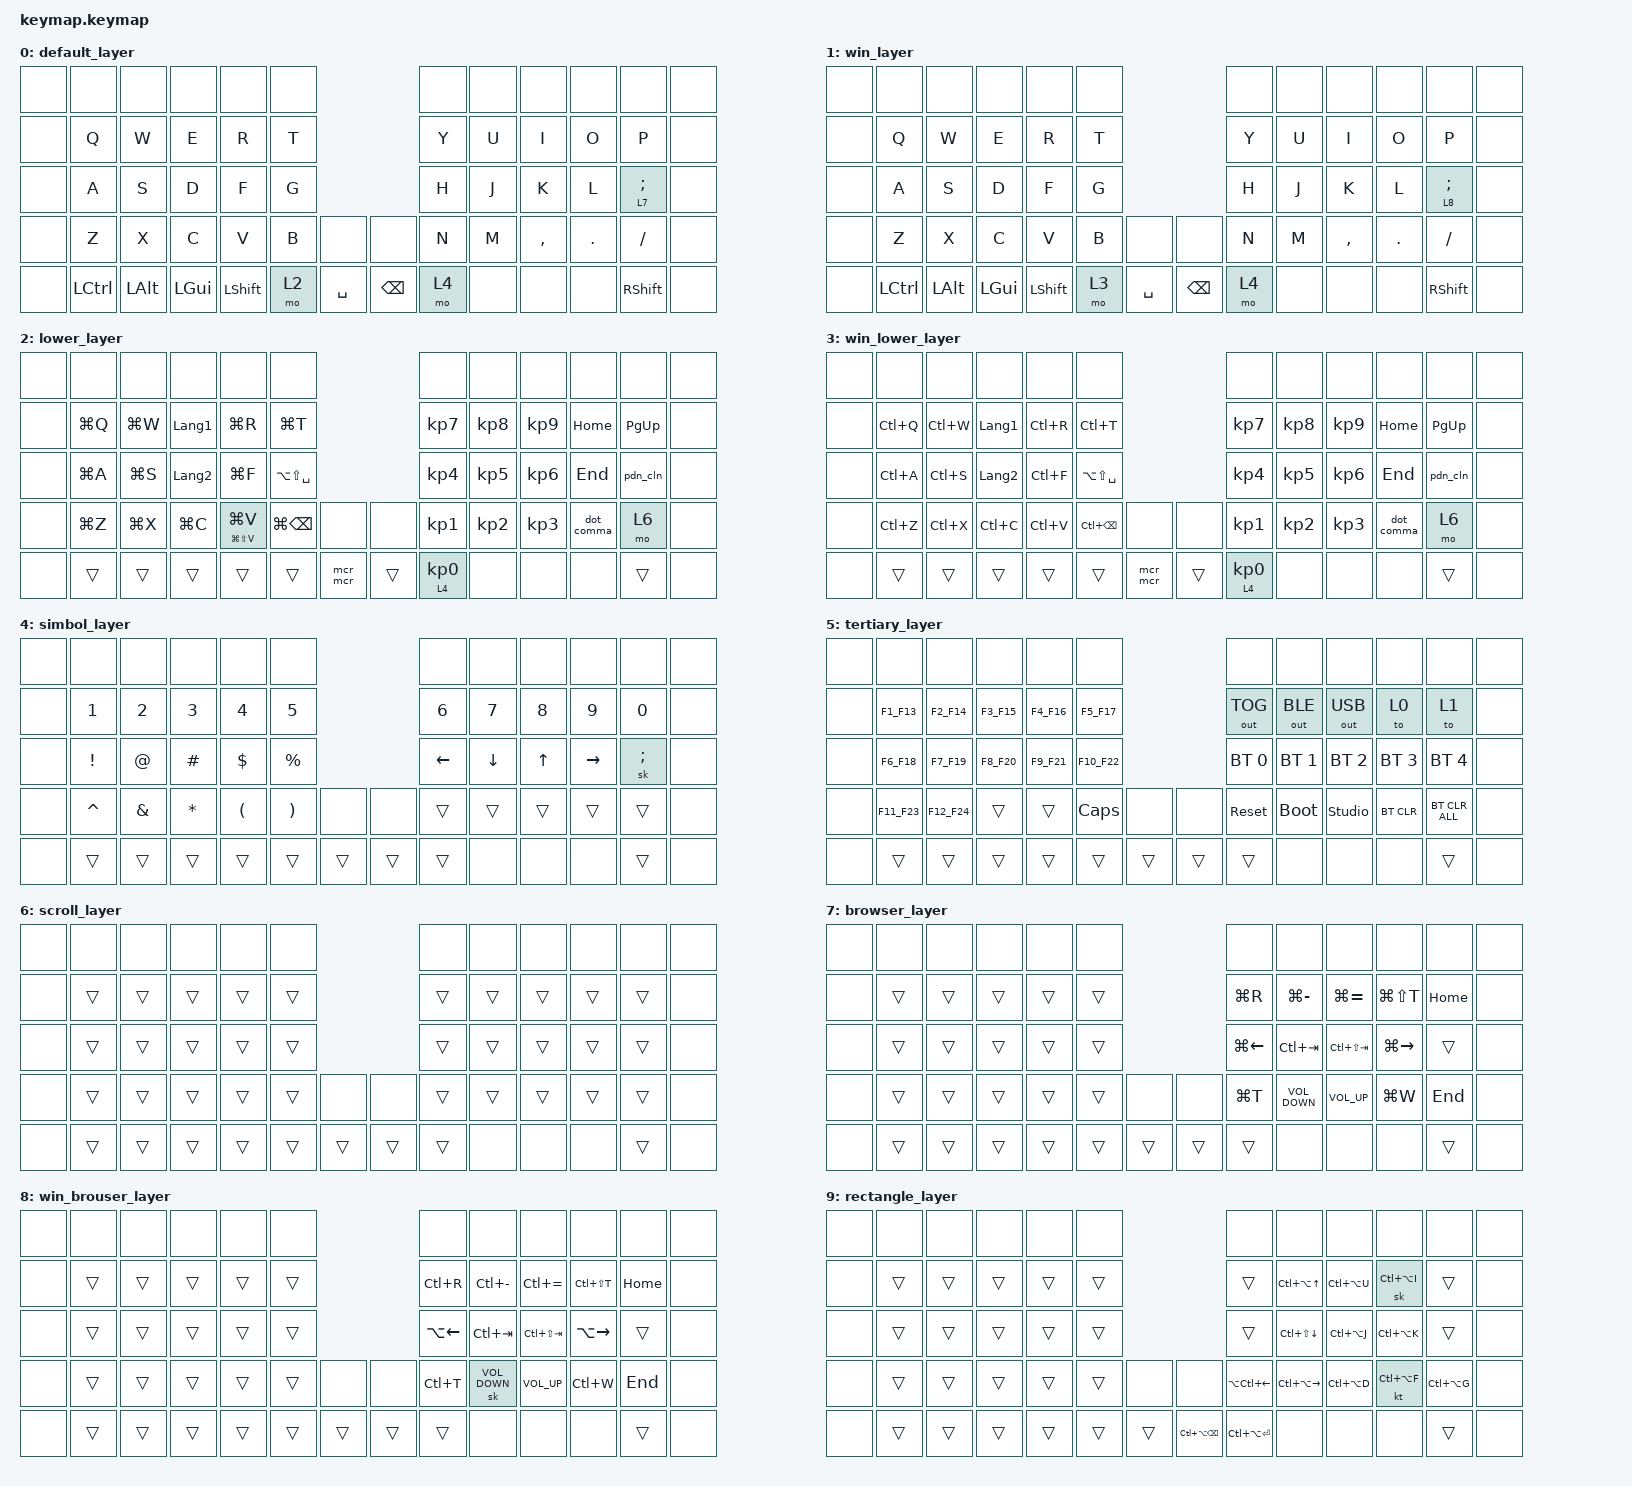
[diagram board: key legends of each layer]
#include <behaviors.dtsi>
#include <dt-bindings/zmk/bt.h>
#include <dt-bindings/zmk/keys.h>
#include <dt-bindings/zmk/outputs.h>
#include <dt-bindings/zmk/pointing.h>

/ {
    behaviors {
        mt2: mod_tap2 {
            compatible = "zmk,behavior-hold-tap";
            #binding-cells = <2>;
            flavor = "tap-preferred";
            tapping-term-ms = <200>;
            quick-tap-ms = <200>;
            require-prior-idle-ms = <125>;
            bindings = <&kp>, <&kp>;
        };

        F1_F13: F1_F13 {
            compatible = "zmk,behavior-mod-morph";
            #binding-cells = <0>;
            bindings = <&kp F1>, <&kp F13>;

            mods = <(MOD_LSFT|MOD_RSFT)>;
            label = "F1_F13";
        };

        F2_F14: F2_F14 {
            compatible = "zmk,behavior-mod-morph";
            #binding-cells = <0>;
            bindings = <&kp F2>, <&kp F14>;

            mods = <(MOD_LSFT|MOD_RSFT)>;
            label = "F2_F14";
        };

        F3_F15: F3_F15 {
            compatible = "zmk,behavior-mod-morph";
            #binding-cells = <0>;
            bindings = <&kp F3>, <&kp F15>;

            mods = <(MOD_LSFT|MOD_RSFT)>;
            label = "F3_F15";
        };

        F4_F16: F4_F16 {
            compatible = "zmk,behavior-mod-morph";
            #binding-cells = <0>;
            bindings = <&kp F4>, <&kp F16>;

            mods = <(MOD_LSFT|MOD_RSFT)>;
            label = "F4_F16";
        };

        F5_F17: F5_F17 {
            compatible = "zmk,behavior-mod-morph";
            #binding-cells = <0>;
            bindings = <&kp F5>, <&kp F17>;

            mods = <(MOD_LSFT|MOD_RSFT)>;
            label = "F5_F17";
        };

        F6_F18: F6_F18 {
            compatible = "zmk,behavior-mod-morph";
            #binding-cells = <0>;
            bindings = <&kp F6>, <&kp F18>;

            mods = <(MOD_LSFT|MOD_RSFT)>;
            label = "F6_F18";
        };

        F7_F19: F7_F19 {
            compatible = "zmk,behavior-mod-morph";
            #binding-cells = <0>;
            bindings = <&kp F7>, <&kp F19>;

            mods = <(MOD_LSFT|MOD_RSFT)>;
            label = "F7_F19";
        };

        F8_F20: F8_F20 {
            compatible = "zmk,behavior-mod-morph";
            #binding-cells = <0>;
            bindings = <&kp F8>, <&kp F20>;

            mods = <(MOD_LSFT|MOD_RSFT)>;
            label = "F8_F20";
        };

        F9_F21: F9_F21 {
            compatible = "zmk,behavior-mod-morph";
            #binding-cells = <0>;
            bindings = <&kp F9>, <&kp F21>;

            mods = <(MOD_LSFT|MOD_RSFT)>;
            label = "F9_F21";
        };

        F10_F22: F10_F22 {
            compatible = "zmk,behavior-mod-morph";
            #binding-cells = <0>;
            bindings = <&kp F10>, <&kp F22>;

            mods = <(MOD_LSFT|MOD_RSFT)>;
            label = "F10_F22";
        };

        F11_F23: F11_F23 {
            compatible = "zmk,behavior-mod-morph";
            #binding-cells = <0>;
            bindings = <&kp F11>, <&kp F23>;

            mods = <(MOD_LSFT|MOD_RSFT)>;
            label = "F11_F23";
        };

        F12_F24: F12_F24 {
            compatible = "zmk,behavior-mod-morph";
            #binding-cells = <0>;
            bindings = <&kp F12>, <&kp F24>;

            mods = <(MOD_LSFT|MOD_RSFT)>;
            label = "F12_F24";
        };

        pdn_cln: pdn_cln {
            compatible = "zmk,behavior-mod-morph";
            label = "PDN_CLN";
            bindings = <&kp PAGE_DOWN>, <&kp COLON>;

            #binding-cells = <0>;
            mods = <(MOD_LSFT|MOD_RSFT)>;
        };

        dot_comma: dot_comma {
            compatible = "zmk,behavior-mod-morph";
            label = "DOT_COMMA";
            bindings = <&kp KP_DOT>, <&kp COMMA>;

            #binding-cells = <0>;
            mods = <(MOD_LSFT|MOD_RSFT)>;
        };
    };

    combos {
        compatible = "zmk,combos";

        esc_ss {
            bindings = <&mt2 LS(LG(NUMBER_4)) ESCAPE>;
            key-positions = <13 14>;
            layers = <0>;
        };

        LClick {
            bindings = <&mkp LCLK>;
            key-positions = <31 32>;
            layers = <0 1 2 3>;
        };

        RClick {
            bindings = <&mkp RCLK>;
            key-positions = <32 33>;
            layers = <0 1 2 3>;
        };

        MClick {
            bindings = <&mkp MCLK>;
            key-positions = <30 31 32>;
            layers = <0 1 2 3>;
        };

        Scroll {
            bindings = <&mo 6>;
            key-positions = <31 32 33>;
            layers = <0 1>;
        };

        ctrl_space {
            bindings = <&kp LC(SPACE)>;
            key-positions = <30 31>;
            layers = <0>;
        };

        alt_grave {
            bindings = <&kp LA(GRAVE)>;
            key-positions = <30 31>;
            layers = <1>;
        };

        equal {
            bindings = <&kp EQUAL>;
            key-positions = <18 19>;
            layers = <0 1>;
        };

        minus {
            bindings = <&kp MINUS>;
            key-positions = <19 20>;
            layers = <0 1>;
        };

        backslash {
            bindings = <&kp BACKSLASH>;
            key-positions = <20 21>;
            layers = <0 1>;
        };

        grave {
            bindings = <&kp GRAVE>;
            key-positions = <21 22>;
            layers = <0 1>;
        };

        quote {
            bindings = <&kp SQT>;
            key-positions = <46 47>;
            layers = <0 1>;
        };

        rectangle_layer {
            bindings = <&mo 9>;
            key-positions = <37 38>;
            layers = <0>;
        };

        left_bracket {
            bindings = <&kp LEFT_BRACKET>;
            key-positions = <44 45>;
            layers = <0 1>;
        };

        right_bracket {
            bindings = <&kp RIGHT_BRACKET>;
            key-positions = <45 46>;
            layers = <0 1>;
        };

        win_esc_ss {
            bindings = <&mt2 LS(LG(S)) ESCAPE>;
            key-positions = <13 14>;
            layers = <1>;
        };

        enter {
            bindings = <&kp ENTER>;
            key-positions = <33 34>;
            layers = <0 1>;
        };

        tab {
            bindings = <&kp TAB>;
            key-positions = <25 26>;
            layers = <0 1>;
        };

        alt-tab {
            bindings = <&kp LA(TAB)>;
            key-positions = <28 29>;
            layers = <0 1>;
        };
    };

    macros {
        mcr_mcr: mcr_mcr {
            compatible = "zmk,behavior-macro";
            #binding-cells = <0>;
            bindings = <&kp LANGUAGE_2 &kp N1 &kp N5 &kp N6 &kp N4 &kp Y &kp U>;
            label = "MCR_MCR";
        };
    };

    keymap {
        compatible = "zmk,keymap";

        default_layer {
            bindings = <
&none  &none      &none     &none     &none       &none                            &none  &none  &none      &none    &none            &none
&none  &kp Q      &kp W     &kp E     &kp R       &kp T                            &kp Y  &kp U  &kp I      &kp O    &kp P            &none
&none  &kp A      &kp S     &kp D     &kp F       &kp G                            &kp H  &kp J  &kp K      &kp L    &lt 7 SEMICOLON  &none
&none  &kp Z      &kp X     &kp C     &kp V       &kp B  &none      &none          &kp N  &kp M  &kp COMMA  &kp DOT  &kp SLASH        &none
&none  &kp LCTRL  &kp LALT  &kp LGUI  &kp LSHIFT  &mo 2  &kp SPACE  &kp BACKSPACE  &mo 4  &none  &none      &none    &kp RSHIFT       &none
            >;
        };

        win_layer {
            bindings = <
&none  &none      &none     &none     &none           &none                            &none  &none  &none      &none       &none            &none
&none  &kp Q      &kp W     &kp E     &kp R           &kp T                            &kp Y  &kp U  &kp I      &kp O       &kp P            &none
&none  &kp A      &kp S     &kp D     &kp F           &kp G                            &kp H  &kp J  &kp K      &kp L       &lt 8 SEMICOLON  &none
&none  &kp Z      &kp X     &kp C     &kp V           &kp B  &none      &none          &kp N  &kp M  &kp COMMA  &kp PERIOD  &kp SLASH        &none
&none  &kp LCTRL  &kp LALT  &kp LGUI  &kp LEFT_SHIFT  &mo 3  &kp SPACE  &kp BACKSPACE  &mo 4  &none  &none      &none       &kp RSHIFT       &none
            >;
        };

        lower_layer {
            bindings = <
&none  &none      &none      &none           &none                 &none                                &none              &none            &none            &none       &none        &none
&none  &kp LG(Q)  &kp LG(W)  &kp LANGUAGE_1  &kp LG(R)             &kp LG(T)                            &kp KP_NUMBER_7    &kp KP_NUMBER_8  &kp KP_NUMBER_9  &kp HOME    &kp PAGE_UP  &none
&none  &kp LG(A)  &kp LG(S)  &kp LANGUAGE_2  &kp LG(F)             &kp LA(LS(SPACE))                    &kp KP_NUMBER_4    &kp KP_NUMBER_5  &kp KP_NUMBER_6  &kp END     &pdn_cln     &none
&none  &kp LG(Z)  &kp LG(X)  &kp LG(C)       &mt2 LG(LS(V)) LG(V)  &kp LG(BACKSPACE)  &none     &none   &kp KP_NUMBER_1    &kp KP_NUMBER_2  &kp KP_NUMBER_3  &dot_comma  &mo 6        &none
&none  &trans     &trans     &trans          &trans                &trans             &mcr_mcr  &trans  &lt 4 KP_NUMBER_0  &none            &none            &none       &trans       &none
            >;
        };

        win_lower_layer {
            bindings = <
&none  &none      &none      &none           &none      &none                                &none              &none            &none            &none       &none        &none
&none  &kp LC(Q)  &kp LC(W)  &kp LANGUAGE_1  &kp LC(R)  &kp LC(T)                            &kp KP_NUMBER_7    &kp KP_NUMBER_8  &kp KP_NUMBER_9  &kp HOME    &kp PAGE_UP  &none
&none  &kp LC(A)  &kp LC(S)  &kp LANGUAGE_2  &kp LC(F)  &kp LA(LS(SPACE))                    &kp KP_NUMBER_4    &kp KP_NUMBER_5  &kp KP_NUMBER_6  &kp END     &pdn_cln     &none
&none  &kp LC(Z)  &kp LC(X)  &kp LC(C)       &kp LC(V)  &kp LC(BACKSPACE)  &none     &none   &kp KP_NUMBER_1    &kp KP_NUMBER_2  &kp KP_NUMBER_3  &dot_comma  &mo 6        &none
&none  &trans     &trans     &trans          &trans     &trans             &mcr_mcr  &trans  &lt 4 KP_NUMBER_0  &none            &none            &none       &trans       &none
            >;
        };

        simbol_layer {
            bindings = <
&none  &none            &none          &none         &none                 &none                                  &none         &none           &none         &none      &none          &none
&none  &kp NUMBER_1     &kp NUMBER_2   &kp NUMBER_3  &kp NUMBER_4          &kp N5                                 &kp NUMBER_6  &kp N7          &kp N8        &kp N9     &kp N0         &none
&none  &kp EXCLAMATION  &kp AT_SIGN    &kp HASH      &kp DOLLAR            &kp PERCENT                            &kp LEFT      &kp DOWN_ARROW  &kp UP_ARROW  &kp RIGHT  &sk SEMICOLON  &none
&none  &kp CARET        &kp AMPERSAND  &kp ASTERISK  &kp LEFT_PARENTHESIS  &kp RIGHT_PARENTHESIS  &none   &none   &trans        &trans          &trans        &trans     &trans         &none
&none  &trans           &trans         &trans        &trans                &trans                 &trans  &trans  &trans        &none           &none         &none      &trans         &none
            >;
        };

        tertiary_layer {
            bindings = <
&none  &none     &none     &none    &none    &none                     &none         &none         &none           &none         &none           &none
&none  &F1_F13   &F2_F14   &F3_F15  &F4_F16  &F5_F17                   &out OUT_TOG  &out OUT_BLE  &out OUT_USB    &to 0         &to 1           &none
&none  &F6_F18   &F7_F19   &F8_F20  &F9_F21  &F10_F22                  &bt BT_SEL 0  &bt BT_SEL 1  &bt BT_SEL 2    &bt BT_SEL 3  &bt BT_SEL 4    &none
&none  &F11_F23  &F12_F24  &trans   &trans   &kp CAPS  &none   &none   &sys_reset    &bootloader   &studio_unlock  &bt BT_CLR    &bt BT_CLR_ALL  &none
&none  &trans    &trans    &trans   &trans   &trans    &trans  &trans  &trans        &none         &none           &none         &trans          &none
            >;
        };

        scroll_layer {
            bindings = <
&none  &none   &none   &none   &none   &none                   &none   &none   &none   &none   &none   &none
&none  &trans  &trans  &trans  &trans  &trans                  &trans  &trans  &trans  &trans  &trans  &none
&none  &trans  &trans  &trans  &trans  &trans                  &trans  &trans  &trans  &trans  &trans  &none
&none  &trans  &trans  &trans  &trans  &trans  &none   &none   &trans  &trans  &trans  &trans  &trans  &none
&none  &trans  &trans  &trans  &trans  &trans  &trans  &trans  &trans  &none   &none   &none   &trans  &none
            >;
        };

        browser_layer {
            bindings = <
&none  &none   &none   &none   &none   &none                   &none               &none              &none            &none          &none     &none
&none  &trans  &trans  &trans  &trans  &trans                  &kp LG(R)           &kp LG(MINUS)      &kp LG(EQUAL)    &kp LG(LS(T))  &kp HOME  &none
&none  &trans  &trans  &trans  &trans  &trans                  &kp LG(LEFT_ARROW)  &kp LC(TAB)        &kp LC(LS(TAB))  &kp LG(RIGHT)  &trans    &none
&none  &trans  &trans  &trans  &trans  &trans  &none   &none   &kp LG(T)           &kp C_VOLUME_DOWN  &kp C_VOLUME_UP  &kp LG(W)      &kp END   &none
&none  &trans  &trans  &trans  &trans  &trans  &trans  &trans  &trans              &none              &none            &none          &trans    &none
            >;
        };

        win_brouser_layer {
            bindings = <
&none  &none   &none   &none   &none   &none                   &none               &none              &none            &none          &none     &none
&none  &trans  &trans  &trans  &trans  &trans                  &kp LC(R)           &kp LC(MINUS)      &kp LC(EQUAL)    &kp LC(LS(T))  &kp HOME  &none
&none  &trans  &trans  &trans  &trans  &trans                  &kp LA(LEFT_ARROW)  &kp LC(TAB)        &kp LC(LS(TAB))  &kp LA(RIGHT)  &trans    &none
&none  &trans  &trans  &trans  &trans  &trans  &none   &none   &kp LC(T)           &sk C_VOLUME_DOWN  &kp C_VOLUME_UP  &kp LC(W)      &kp END   &none
&none  &trans  &trans  &trans  &trans  &trans  &trans  &trans  &trans              &none              &none            &none          &trans    &none
            >;
        };

        rectangle_layer {
            bindings = <
&none  &none   &none   &none   &none   &none                                  &none                   &none                 &none          &none          &none          &none
&none  &trans  &trans  &trans  &trans  &trans                                 &trans                  &kp LC(LA(UP_ARROW))  &kp LC(LA(U))  &sk LC(LA(I))  &trans         &none
&none  &trans  &trans  &trans  &trans  &trans                                 &trans                  &kp LC(LS(DOWN))      &kp LC(LA(J))  &kp LC(LA(K))  &trans         &none
&none  &trans  &trans  &trans  &trans  &trans  &none   &none                  &kp LA(LC(LEFT_ARROW))  &kp LC(LA(RIGHT))     &kp LC(LA(D))  &kt LC(LA(F))  &kp LC(LA(G))  &none
&none  &trans  &trans  &trans  &trans  &trans  &trans  &kp LC(LA(BACKSPACE))  &kp LC(LA(ENTER))       &none                 &none          &none          &trans         &none
            >;
        };
    };

    conditional_layers {
        compatible = "zmk,conditional-layers";

        Tertiary {
            if-layers = <2 4>;
            then-layer = <5>;
        };

        win_Tertiary {
            if-layers = <3 4>;
            then-layer = <5>;
        };
    };
};
